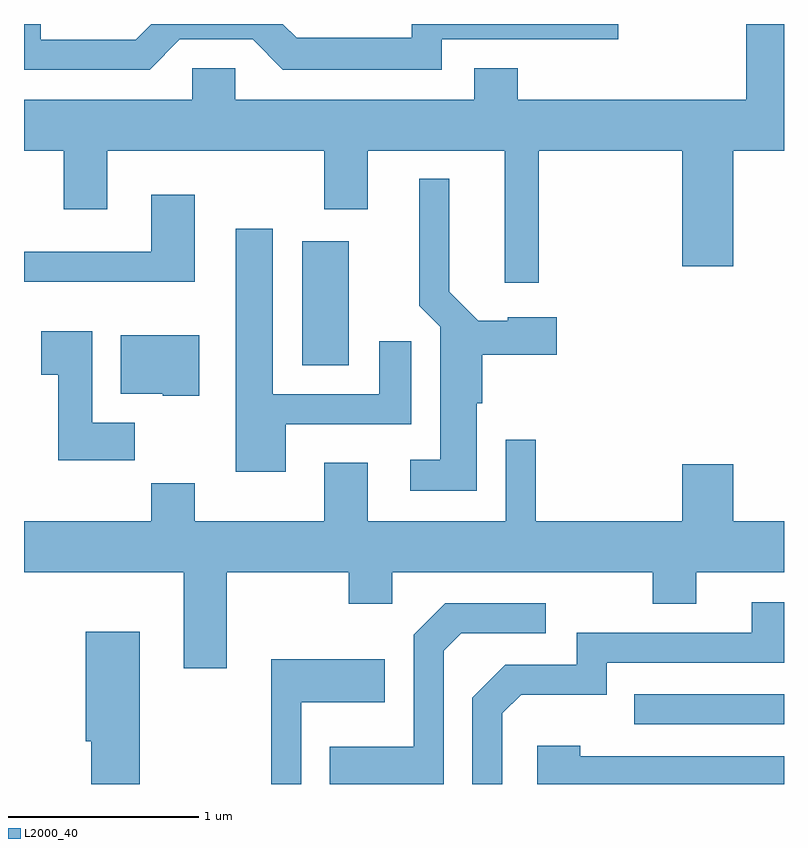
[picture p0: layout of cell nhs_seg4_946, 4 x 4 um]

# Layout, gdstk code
import gdstk
lib = gdstk.Library(unit=1e-6, precision=1e-09)
def R(c, l, rs):  # rectangles x0, y0, x1, y1
    for r in rs: c.add(gdstk.rectangle(r[:2], r[2:], *l))
def P(c, l, *ps):  # polygons
    for p in ps: c.add(gdstk.Polygon(p, *l))
L2000_40 = (2000, 40)

nhs_seg4_946 = lib.new_cell('nhs_seg4_946')
R(nhs_seg4_946, L2000_40, [(214.823,1378.296,215.611,1378.454), (213.076,1380.186,213.319,1380.839)])
P(nhs_seg4_946, L2000_40, [(214.319,1381.316),(215.076,1381.316),(215.076,1380.706),(215.344,1380.706),(215.344,1381.316),(215.611,1381.316),(215.611,1381.982),(215.411,1381.982),(215.411,1381.584),(214.209,1381.584),(214.209,1381.749),(213.981,1381.749),(213.981,1381.584),(212.724,1381.584),(212.724,1381.749),(212.496,1381.749),(212.496,1381.584),(211.611,1381.584),(211.611,1381.316),(211.821,1381.316),(211.821,1381.006),(212.049,1381.006),(212.049,1381.316),(213.191,1381.316),(213.191,1381.006),(213.419,1381.006),(213.419,1381.316),(214.141,1381.316),(214.141,1380.621),(214.319,1380.621)],
  [(212.432,1381.901),(212.814,1381.901),(212.974,1381.741),(213.809,1381.741),(213.809,1381.901),(214.738,1381.901),(214.738,1381.982),(213.651,1381.982),(213.651,1381.909),(213.047,1381.909),(212.974,1381.982),(212.282,1381.982),(212.199,1381.899),(211.699,1381.899),(211.699,1381.982),(211.611,1381.982),(211.611,1381.741),(212.272,1381.741)],
  [(213.994,1379.986),(214.024,1379.986),(214.024,1380.241),(214.414,1380.241),(214.414,1380.439),(214.156,1380.439),(214.156,1380.419),(214.002,1380.419),(213.849,1380.572),(213.849,1381.168),(213.691,1381.168),(213.691,1380.499),(213.801,1380.389),(213.801,1379.689),(213.643,1379.689),(213.643,1379.526),(213.994,1379.526)],
  [(212.509,1381.084),(212.281,1381.084),(212.281,1380.784),(211.611,1380.784),(211.611,1380.626),(212.509,1380.626)],
  [(212.989,1379.876),(213.649,1379.876),(213.649,1380.313),(213.481,1380.313),(213.481,1380.034),(212.919,1380.034),(212.919,1380.904),(212.726,1380.904),(212.726,1379.626),(212.989,1379.626)],
  [(212.194,1379.884),(211.969,1379.884),(211.969,1380.364),(211.701,1380.364),(211.701,1380.136),(211.791,1380.136),(211.791,1379.686),(212.194,1379.686)],
  [(212.534,1380.344),(212.121,1380.344),(212.121,1380.036),(212.34,1380.036),(212.34,1380.026),(212.534,1380.026)],
  [(212.679,1379.096),(213.321,1379.096),(213.321,1378.931),(213.549,1378.931),(213.549,1379.096),(214.921,1379.096),(214.921,1378.931),(215.149,1378.931),(215.149,1379.096),(215.611,1379.096),(215.611,1379.364),(215.344,1379.364),(215.344,1379.664),(215.076,1379.664),(215.076,1379.364),(214.304,1379.364),(214.304,1379.793),(214.146,1379.793),(214.146,1379.364),(213.419,1379.364),(213.419,1379.674),(213.191,1379.674),(213.191,1379.364),(212.509,1379.364),(212.509,1379.564),(212.281,1379.564),(212.281,1379.364),(211.611,1379.364),(211.611,1379.096),(212.451,1379.096),(212.451,1378.591),(212.679,1378.591)],
  [(214.129,1378.354),(214.227,1378.451),(214.679,1378.451),(214.679,1378.621),(215.611,1378.621),(215.611,1378.939),(215.441,1378.939),(215.441,1378.779),(214.521,1378.779),(214.521,1378.609),(214.144,1378.609),(213.971,1378.437),(213.971,1377.982),(214.129,1377.982)],
  [(213.819,1378.684),(213.912,1378.776),(214.358,1378.776),(214.358,1378.934),(213.829,1378.934),(213.661,1378.767),(213.661,1378.179),(213.221,1378.179),(213.221,1377.982),(213.819,1377.982)],
  [(212.219,1378.784),(211.936,1378.784),(211.936,1378.206),(211.966,1378.206),(211.966,1377.982),(212.219,1377.982)],
  [(213.069,1378.411),(213.509,1378.411),(213.509,1378.639),(212.911,1378.639),(212.911,1377.982),(213.069,1377.982)],
  [(215.611,1378.129),(214.539,1378.129),(214.539,1378.184),(214.311,1378.184),(214.311,1377.982),(215.611,1377.982)])

lib.write_gds('nhs_seg4_946.gds')
